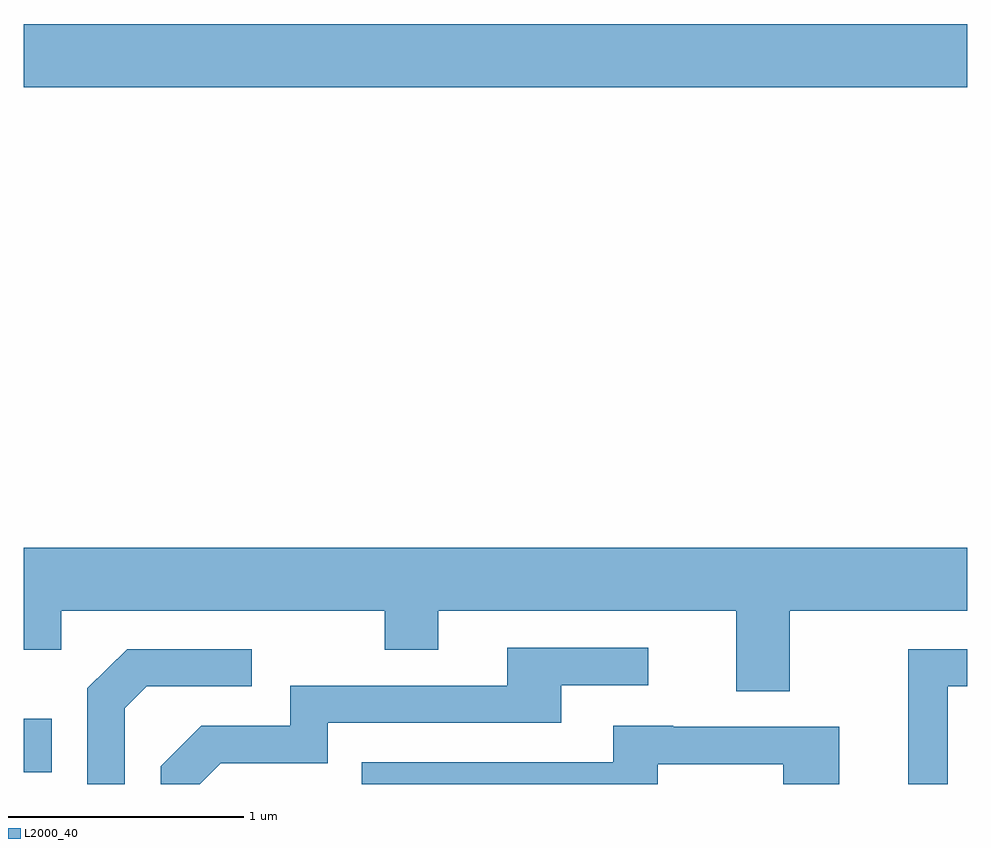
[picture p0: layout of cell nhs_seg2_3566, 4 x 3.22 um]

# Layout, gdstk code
import gdstk
lib = gdstk.Library(unit=1e-6, precision=1e-09)
def R(c, l, rs):  # rectangles x0, y0, x1, y1
    for r in rs: c.add(gdstk.rectangle(r[:2], r[2:], *l))
def P(c, l, *ps):  # polygons
    for p in ps: c.add(gdstk.Polygon(p, *l))
L2000_40 = (2000, 40)

nhs_seg2_3566 = lib.new_cell('nhs_seg2_3566')
R(nhs_seg2_3566, L2000_40, [(289.611,1049.851,289.729,1050.079), (289.611,1052.756,293.611,1053.024)])
P(nhs_seg2_3566, L2000_40, [(292.859,1050.536),(293.611,1050.536),(293.611,1050.804),(289.611,1050.804),(289.611,1050.371),(289.769,1050.371),(289.769,1050.536),(291.141,1050.536),(291.141,1050.371),(291.369,1050.371),(291.369,1050.536),(292.631,1050.536),(292.631,1050.196),(292.859,1050.196)],
  [(290.447,1049.891),(290.899,1049.891),(290.899,1050.061),(291.889,1050.061),(291.889,1050.221),(292.258,1050.221),(292.258,1050.379),(291.661,1050.379),(291.661,1050.219),(290.741,1050.219),(290.741,1050.049),(290.364,1050.049),(290.191,1049.877),(290.191,1049.802),(290.357,1049.802)],
  [(293.529,1050.216),(293.611,1050.216),(293.611,1050.374),(293.361,1050.374),(293.361,1049.802),(293.529,1049.802)],
  [(290.039,1050.124),(290.132,1050.216),(290.578,1050.216),(290.578,1050.374),(290.049,1050.374),(289.881,1050.207),(289.881,1049.802),(290.039,1049.802)],
  [(292.299,1049.886),(292.831,1049.886),(292.831,1049.802),(293.069,1049.802),(293.069,1050.044),(292.365,1050.044),(292.365,1050.049),(292.111,1050.049),(292.111,1049.894),(291.043,1049.894),(291.043,1049.802),(292.299,1049.802)])

lib.write_gds('nhs_seg2_3566.gds')
